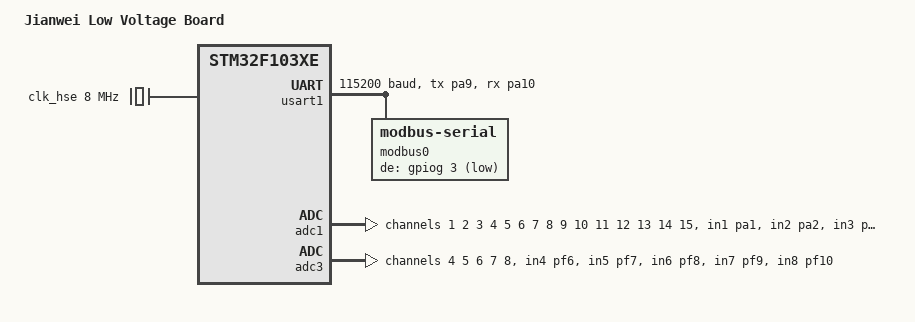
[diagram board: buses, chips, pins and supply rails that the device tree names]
/*
 * Copyright (c) 2026 Jianwei
 *
 * SPDX-License-Identifier: Apache-2.0
 */

/dts-v1/;

#include <st/f1/stm32f103Xe.dtsi>
#include <zephyr/dt-bindings/gpio/gpio.h>
#include <zephyr/dt-bindings/pinctrl/stm32f1-pinctrl.h>
#include <zephyr/dt-bindings/adc/adc.h>
#include <zephyr/dt-bindings/adc/stm32_adc.h>
#include <zephyr/dt-bindings/adc/stm32f1_adc.h>
#include <dt-bindings/voltage_control/capabilities.h>

/ {
	model = "Jianwei Low Voltage Board";
	compatible = "jianwei,jw-lvb";

	/* No debug UART is accessible on this board — console and shell run
	 * over Segger RTT instead (see applications/psb_controller/boards/jw_lvb.conf). */
	chosen {
		zephyr,sram       = &sram0;
		zephyr,flash      = &flash0;
	};

	vc_controller: vc-controller {
		compatible = "jianwei,vc-controller";
		#address-cells = <1>;
		#size-cells = <0>;
		status = "okay";

		/* 10-channel 12 V isolated outputs — no DAC, V/I measurement only */

		vc_ch0: channel@0 {
			compatible = "jianwei,lvb-vc-channel";
			reg = <0>;
			label = "LV1";
			/* CH_CAP_OUTPUT_ENABLE intentionally omitted: this channel must
			 * always stay on. vc_channel_output_action() rejects DISABLE_*
			 * commands for channels lacking this capability. The GPIO is
			 * still wired below so the driver can drive it active at init. */
			capabilities = <(CH_CAP_VOLTAGE_MEASUREMENT |
					 CH_CAP_CURRENT_MEASUREMENT)>;
			/* enable-gpios intentionally swapped with vc_ch2: the reference
			 * firmware's board-tested power.c drives its always-on channel
			 * via DT_ALIAS(pwr2) (gpiof14), not DT_ALIAS(pwr0) (gpiog1), due
			 * to a documented PCB-level CH1/CH3 crossing found during
			 * bring-up ("[bug]: ch1 and ch3 swaped"). This keeps the
			 * physically-labeled CH1 connector as the always-on one. */
			enable-gpios = <&gpiof 14 GPIO_ACTIVE_HIGH>;
			io-channels = <&adc1 7>, <&adc1 6>;
			io-channel-names = "voltage", "current";
			calib-current-b = <(-1822)>;
		};

		vc_ch1: channel@1 {
			compatible = "jianwei,lvb-vc-channel";
			reg = <1>;
			label = "LV2";
			capabilities = <(CH_CAP_OUTPUT_ENABLE |
					 CH_CAP_VOLTAGE_MEASUREMENT |
					 CH_CAP_CURRENT_MEASUREMENT)>;
			enable-gpios = <&gpioe 8 GPIO_ACTIVE_HIGH>;
			io-channels = <&adc1 15>, <&adc1 14>;
			io-channel-names = "voltage", "current";
			calib-current-b = <(-1682)>;
		};

		vc_ch2: channel@2 {
			compatible = "jianwei,lvb-vc-channel";
			reg = <2>;
			label = "LV3";
			capabilities = <(CH_CAP_OUTPUT_ENABLE |
					 CH_CAP_VOLTAGE_MEASUREMENT |
					 CH_CAP_CURRENT_MEASUREMENT)>;
			/* see vc_ch0 comment: swapped with vc_ch0 per the reference
			 * firmware's validated CH1/CH3 GPIO crossing workaround. */
			enable-gpios = <&gpiog 1 GPIO_ACTIVE_HIGH>;
			io-channels = <&adc1 5>, <&adc1 4>;
			io-channel-names = "voltage", "current";
			calib-current-b = <(-1640)>;
		};

		vc_ch3: channel@3 {
			compatible = "jianwei,lvb-vc-channel";
			reg = <3>;
			label = "LV4";
			capabilities = <(CH_CAP_OUTPUT_ENABLE |
					 CH_CAP_VOLTAGE_MEASUREMENT |
					 CH_CAP_CURRENT_MEASUREMENT)>;
			enable-gpios = <&gpioe 11 GPIO_ACTIVE_HIGH>;
			io-channels = <&adc1 8>, <&adc1 9>;
			io-channel-names = "voltage", "current";
			calib-current-b = <(-1730)>;
		};

		vc_ch4: channel@4 {
			compatible = "jianwei,lvb-vc-channel";
			reg = <4>;
			label = "LV5";
			capabilities = <(CH_CAP_OUTPUT_ENABLE |
					 CH_CAP_VOLTAGE_MEASUREMENT |
					 CH_CAP_CURRENT_MEASUREMENT)>;
			enable-gpios = <&gpioe 6 GPIO_ACTIVE_HIGH>;
			io-channels = <&adc1 11>, <&adc1 10>;
			io-channel-names = "voltage", "current";
			calib-current-b = <(-1715)>;
		};

		vc_ch5: channel@5 {
			compatible = "jianwei,lvb-vc-channel";
			reg = <5>;
			label = "LV6";
			capabilities = <(CH_CAP_OUTPUT_ENABLE |
					 CH_CAP_VOLTAGE_MEASUREMENT |
					 CH_CAP_CURRENT_MEASUREMENT)>;
			enable-gpios = <&gpioa 12 GPIO_ACTIVE_HIGH>;
			io-channels = <&adc1 3>, <&adc1 2>;
			io-channel-names = "voltage", "current";
			calib-current-b = <(-1707)>;
			default-output-disabled;
		};

		vc_ch6: channel@6 {
			compatible = "jianwei,lvb-vc-channel";
			reg = <6>;
			label = "LV7";
			capabilities = <(CH_CAP_OUTPUT_ENABLE |
					 CH_CAP_VOLTAGE_MEASUREMENT |
					 CH_CAP_CURRENT_MEASUREMENT)>;
			enable-gpios = <&gpioe 5 GPIO_ACTIVE_HIGH>;
			io-channels = <&adc3 4>, <&adc3 5>;
			io-channel-names = "voltage", "current";
			calib-current-b = <(-1812)>;
		};

		vc_ch7: channel@7 {
			compatible = "jianwei,lvb-vc-channel";
			reg = <7>;
			label = "LV8";
			capabilities = <(CH_CAP_OUTPUT_ENABLE |
					 CH_CAP_VOLTAGE_MEASUREMENT |
					 CH_CAP_CURRENT_MEASUREMENT)>;
			enable-gpios = <&gpioe 2 GPIO_ACTIVE_HIGH>;
			io-channels = <&adc1 1>, <&adc1 13>;
			io-channel-names = "voltage", "current";
			calib-current-b = <(-1717)>;
		};

		vc_ch8: channel@8 {
			compatible = "jianwei,lvb-vc-channel";
			reg = <8>;
			label = "LV9";
			capabilities = <(CH_CAP_OUTPUT_ENABLE |
					 CH_CAP_VOLTAGE_MEASUREMENT |
					 CH_CAP_CURRENT_MEASUREMENT)>;
			enable-gpios = <&gpioe 4 GPIO_ACTIVE_HIGH>;
			io-channels = <&adc3 6>, <&adc3 7>;
			io-channel-names = "voltage", "current";
			calib-current-b = <(-1670)>;
		};

		vc_ch9: channel@9 {
			compatible = "jianwei,lvb-vc-channel";
			reg = <9>;
			label = "LV10";
			capabilities = <(CH_CAP_OUTPUT_ENABLE |
					 CH_CAP_VOLTAGE_MEASUREMENT |
					 CH_CAP_CURRENT_MEASUREMENT)>;
			enable-gpios = <&gpioe 3 GPIO_ACTIVE_HIGH>;
			io-channels = <&adc1 12>, <&adc3 8>;
			io-channel-names = "voltage", "current";
			calib-current-b = <(-1662)>;
		};
	};
};

/* ---- Clock ---- */

&clk_hse {
	clock-frequency = <DT_FREQ_M(8)>;
	status = "okay";
};

&pll {
	mul = <9>;
	clocks = <&clk_hse>;
	status = "okay";
};

&rcc {
	clocks = <&pll>;
	clock-frequency = <DT_FREQ_M(72)>;
	ahb-prescaler = <1>;
	apb1-prescaler = <2>;
	apb2-prescaler = <1>;
	adc-prescaler = <6>;
};

/* ---- GPIO ports ---- */

&gpioa { status = "okay"; };
&gpiob { status = "okay"; };
&gpioc { status = "okay"; };
&gpioe { status = "okay"; };
&gpiof { status = "okay"; };
&gpiog { status = "okay"; };

/* ---- USART1 — Modbus RTU (PA9/PA10), DE on PG3 (active-low) ---- */

&usart1 {
	pinctrl-0 = <&usart1_tx_pa9 &usart1_rx_pa10>;
	pinctrl-names = "default";
	current-speed = <115200>;
	status = "okay";

	modbus0 {
		compatible = "zephyr,modbus-serial";
		status = "okay";
		de-gpios = <&gpiog 3 (GPIO_ACTIVE_LOW | GPIO_PULL_UP)>;
	};
};

/* ---- ADC1 — 12-channel internal ADC ---- */

&adc1 {
	#address-cells = <1>;
	#size-cells = <0>;

	pinctrl-0 = <
		&adc1_in1_pa1  &adc1_in2_pa2  &adc1_in3_pa3
		&adc1_in4_pa4  &adc1_in5_pa5  &adc1_in6_pa6
		&adc1_in7_pa7  &adc1_in8_pb0  &adc1_in9_pb1
		&adc1_in10_pc0 &adc1_in11_pc1 &adc1_in12_pc2
		&adc1_in13_pc3 &adc1_in14_pc4 &adc1_in15_pc5
	>;
	pinctrl-names = "default";
	status = "okay";

	/* Per-channel config required for adc_sequence_init_dt() to succeed —
	 * without a matching channel@N node, channel_cfg_dt_node_exists is
	 * false and adc_read_dt() fails with "No channels selected". */
	channel@1 {
		reg = <1>;
		zephyr,gain = "ADC_GAIN_1";
		zephyr,reference = "ADC_REF_INTERNAL";
		zephyr,acquisition-time = <ADC_ACQ_TIME_DEFAULT>;
		zephyr,resolution = <12>;
	};
	channel@2 {
		reg = <2>;
		zephyr,gain = "ADC_GAIN_1";
		zephyr,reference = "ADC_REF_INTERNAL";
		zephyr,acquisition-time = <ADC_ACQ_TIME_DEFAULT>;
		zephyr,resolution = <12>;
	};
	channel@3 {
		reg = <3>;
		zephyr,gain = "ADC_GAIN_1";
		zephyr,reference = "ADC_REF_INTERNAL";
		zephyr,acquisition-time = <ADC_ACQ_TIME_DEFAULT>;
		zephyr,resolution = <12>;
	};
	channel@4 {
		reg = <4>;
		zephyr,gain = "ADC_GAIN_1";
		zephyr,reference = "ADC_REF_INTERNAL";
		zephyr,acquisition-time = <ADC_ACQ_TIME_DEFAULT>;
		zephyr,resolution = <12>;
	};
	channel@5 {
		reg = <5>;
		zephyr,gain = "ADC_GAIN_1";
		zephyr,reference = "ADC_REF_INTERNAL";
		zephyr,acquisition-time = <ADC_ACQ_TIME_DEFAULT>;
		zephyr,resolution = <12>;
	};
	channel@6 {
		reg = <6>;
		zephyr,gain = "ADC_GAIN_1";
		zephyr,reference = "ADC_REF_INTERNAL";
		zephyr,acquisition-time = <ADC_ACQ_TIME_DEFAULT>;
		zephyr,resolution = <12>;
	};
	channel@7 {
		reg = <7>;
		zephyr,gain = "ADC_GAIN_1";
		zephyr,reference = "ADC_REF_INTERNAL";
		zephyr,acquisition-time = <ADC_ACQ_TIME_DEFAULT>;
		zephyr,resolution = <12>;
	};
	channel@8 {
		reg = <8>;
		zephyr,gain = "ADC_GAIN_1";
		zephyr,reference = "ADC_REF_INTERNAL";
		zephyr,acquisition-time = <ADC_ACQ_TIME_DEFAULT>;
		zephyr,resolution = <12>;
	};
	channel@9 {
		reg = <9>;
		zephyr,gain = "ADC_GAIN_1";
		zephyr,reference = "ADC_REF_INTERNAL";
		zephyr,acquisition-time = <ADC_ACQ_TIME_DEFAULT>;
		zephyr,resolution = <12>;
	};
	channel@a {
		reg = <10>;
		zephyr,gain = "ADC_GAIN_1";
		zephyr,reference = "ADC_REF_INTERNAL";
		zephyr,acquisition-time = <ADC_ACQ_TIME_DEFAULT>;
		zephyr,resolution = <12>;
	};
	channel@b {
		reg = <11>;
		zephyr,gain = "ADC_GAIN_1";
		zephyr,reference = "ADC_REF_INTERNAL";
		zephyr,acquisition-time = <ADC_ACQ_TIME_DEFAULT>;
		zephyr,resolution = <12>;
	};
	channel@c {
		reg = <12>;
		zephyr,gain = "ADC_GAIN_1";
		zephyr,reference = "ADC_REF_INTERNAL";
		zephyr,acquisition-time = <ADC_ACQ_TIME_DEFAULT>;
		zephyr,resolution = <12>;
	};
	channel@d {
		reg = <13>;
		zephyr,gain = "ADC_GAIN_1";
		zephyr,reference = "ADC_REF_INTERNAL";
		zephyr,acquisition-time = <ADC_ACQ_TIME_DEFAULT>;
		zephyr,resolution = <12>;
	};
	channel@e {
		reg = <14>;
		zephyr,gain = "ADC_GAIN_1";
		zephyr,reference = "ADC_REF_INTERNAL";
		zephyr,acquisition-time = <ADC_ACQ_TIME_DEFAULT>;
		zephyr,resolution = <12>;
	};
	channel@f {
		reg = <15>;
		zephyr,gain = "ADC_GAIN_1";
		zephyr,reference = "ADC_REF_INTERNAL";
		zephyr,acquisition-time = <ADC_ACQ_TIME_DEFAULT>;
		zephyr,resolution = <12>;
	};
};

/* ---- ADC3 — 5-channel (PF6–PF10, ADC3-only) ---- */

&adc3 {
	#address-cells = <1>;
	#size-cells = <0>;

	pinctrl-0 = <
		&adc3_in4_pf6 &adc3_in5_pf7
		&adc3_in6_pf8 &adc3_in7_pf9 &adc3_in8_pf10
	>;
	pinctrl-names = "default";
	/* ADC3 uses the generic st,stm32-adc compatible — these are required */
	st,adc-clock-source = <SYNC>;
	st,adc-prescaler = <6>;
	resolutions = <STM32F1_ADC_RES(12)>;
	sampling-times = <2 8 14 29 42 56 72 240>;
	st,adc-sequencer = <FULLY_CONFIGURABLE>;

	/* Per-channel config required for adc_sequence_init_dt() to succeed —
	 * see the matching comment on &adc1. */
	channel@4 {
		reg = <4>;
		zephyr,gain = "ADC_GAIN_1";
		zephyr,reference = "ADC_REF_INTERNAL";
		zephyr,acquisition-time = <ADC_ACQ_TIME_DEFAULT>;
		zephyr,resolution = <12>;
	};
	channel@5 {
		reg = <5>;
		zephyr,gain = "ADC_GAIN_1";
		zephyr,reference = "ADC_REF_INTERNAL";
		zephyr,acquisition-time = <ADC_ACQ_TIME_DEFAULT>;
		zephyr,resolution = <12>;
	};
	channel@6 {
		reg = <6>;
		zephyr,gain = "ADC_GAIN_1";
		zephyr,reference = "ADC_REF_INTERNAL";
		zephyr,acquisition-time = <ADC_ACQ_TIME_DEFAULT>;
		zephyr,resolution = <12>;
	};
	channel@7 {
		reg = <7>;
		zephyr,gain = "ADC_GAIN_1";
		zephyr,reference = "ADC_REF_INTERNAL";
		zephyr,acquisition-time = <ADC_ACQ_TIME_DEFAULT>;
		zephyr,resolution = <12>;
	};
	channel@8 {
		reg = <8>;
		zephyr,gain = "ADC_GAIN_1";
		zephyr,reference = "ADC_REF_INTERNAL";
		zephyr,acquisition-time = <ADC_ACQ_TIME_DEFAULT>;
		zephyr,resolution = <12>;
	};
	status = "okay";
};

/* ---- Watchdog ----
 * Left disabled: the STM32 IWDG driver auto-arms itself at boot (with a
 * 100 ms default timeout, CONFIG_IWDG_STM32_INITIAL_TIMEOUT) whenever
 * CONFIG_WATCHDOG=y, regardless of whether the application ever calls
 * wdt_setup()/wdt_feed() — nothing in this firmware feeds it, so enabling
 * it here reset the board in a ~100 ms loop from first boot. The reference
 * firmware never enabled CONFIG_WATCHDOG either. Re-enable only alongside
 * an explicit wdt_setup()+periodic wdt_feed() with a real timeout. */
&iwdg {
	status = "disabled";
};

/* ---- NVS storage — last 8 KB of 512 KB flash (4 × 2 KB pages) ---- */

&flash0 {
	partitions {
		compatible = "fixed-partitions";
		#address-cells = <1>;
		#size-cells = <1>;

		storage_partition: partition@7e000 {
			label = "storage";
			reg = <0x0007e000 DT_SIZE_K(8)>;
		};
	};
};

/* ---- Pinctrl ---- */

&pinctrl {
	/* USART1 (Modbus RTU, no remap) */
	usart1_tx_pa9: usart1_tx_pa9 {
		pinmux = <STM32F1_PINMUX('A', 9, ALTERNATE, NO_REMAP)>;
	};
	usart1_rx_pa10: usart1_rx_pa10 {
		pinmux = <STM32F1_PINMUX('A', 10, GPIO_IN, NO_REMAP)>;
		bias-pull-up;
	};

	/* ADC1 analog inputs */
	adc1_in1_pa1:  adc1_in1_pa1  { pinmux = <STM32F1_PINMUX('A', 1,  ANALOG, NO_REMAP)>; };
	adc1_in2_pa2:  adc1_in2_pa2  { pinmux = <STM32F1_PINMUX('A', 2,  ANALOG, NO_REMAP)>; };
	adc1_in3_pa3:  adc1_in3_pa3  { pinmux = <STM32F1_PINMUX('A', 3,  ANALOG, NO_REMAP)>; };
	adc1_in4_pa4:  adc1_in4_pa4  { pinmux = <STM32F1_PINMUX('A', 4,  ANALOG, NO_REMAP)>; };
	adc1_in5_pa5:  adc1_in5_pa5  { pinmux = <STM32F1_PINMUX('A', 5,  ANALOG, NO_REMAP)>; };
	adc1_in6_pa6:  adc1_in6_pa6  { pinmux = <STM32F1_PINMUX('A', 6,  ANALOG, NO_REMAP)>; };
	adc1_in7_pa7:  adc1_in7_pa7  { pinmux = <STM32F1_PINMUX('A', 7,  ANALOG, NO_REMAP)>; };
	adc1_in8_pb0:  adc1_in8_pb0  { pinmux = <STM32F1_PINMUX('B', 0,  ANALOG, NO_REMAP)>; };
	adc1_in9_pb1:  adc1_in9_pb1  { pinmux = <STM32F1_PINMUX('B', 1,  ANALOG, NO_REMAP)>; };
	adc1_in10_pc0: adc1_in10_pc0 { pinmux = <STM32F1_PINMUX('C', 0,  ANALOG, NO_REMAP)>; };
	adc1_in11_pc1: adc1_in11_pc1 { pinmux = <STM32F1_PINMUX('C', 1,  ANALOG, NO_REMAP)>; };
	adc1_in12_pc2: adc1_in12_pc2 { pinmux = <STM32F1_PINMUX('C', 2,  ANALOG, NO_REMAP)>; };
	adc1_in13_pc3: adc1_in13_pc3 { pinmux = <STM32F1_PINMUX('C', 3,  ANALOG, NO_REMAP)>; };
	adc1_in14_pc4: adc1_in14_pc4 { pinmux = <STM32F1_PINMUX('C', 4,  ANALOG, NO_REMAP)>; };
	adc1_in15_pc5: adc1_in15_pc5 { pinmux = <STM32F1_PINMUX('C', 5,  ANALOG, NO_REMAP)>; };

	/* ADC3 analog inputs (PF6–PF10, ADC3-exclusive channels) */
	adc3_in4_pf6:  adc3_in4_pf6  { pinmux = <STM32F1_PINMUX('F', 6,  ANALOG, NO_REMAP)>; };
	adc3_in5_pf7:  adc3_in5_pf7  { pinmux = <STM32F1_PINMUX('F', 7,  ANALOG, NO_REMAP)>; };
	adc3_in6_pf8:  adc3_in6_pf8  { pinmux = <STM32F1_PINMUX('F', 8,  ANALOG, NO_REMAP)>; };
	adc3_in7_pf9:  adc3_in7_pf9  { pinmux = <STM32F1_PINMUX('F', 9,  ANALOG, NO_REMAP)>; };
	adc3_in8_pf10: adc3_in8_pf10 { pinmux = <STM32F1_PINMUX('F', 10, ANALOG, NO_REMAP)>; };
};
